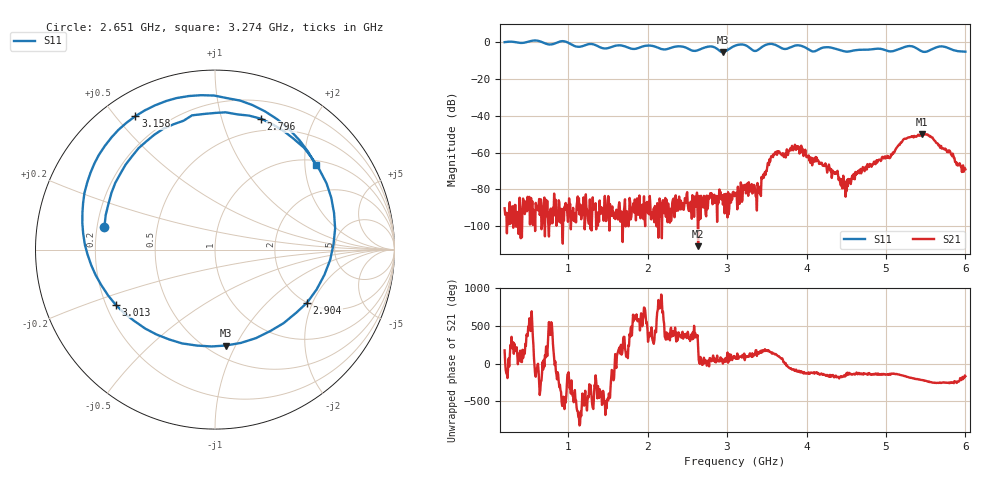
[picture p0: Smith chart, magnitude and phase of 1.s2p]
! NanoVNA-App by OneOfEleven et al v1.1.209 (+OD15)
! Date: 2024-07-30 15:14:03
! Start: 200MHz Stop: 6GHz Points: 801
! S-Parameter data: F S11 S21 S12 S22
# Hz S RI R 50
!  Frequency  S11_Real  S11_Imag  S21_Real  S21_Imag  S12_Real  S12_Imag  S22_Real  S22_Imag
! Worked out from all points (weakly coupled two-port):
!   801 points, 200 MHz to 6 GHz, reference 50 ohm
!   highest |S21| = -50.00 dB at 5.449 GHz (marker M1); lowest = -110.9 dB at 2.636 GHz (marker M2)
!   lowest |S11| = -5.4 dB at 2.948 GHz (marker M3), VSWR 3.33, Z = 30.4 - j45.8 ohm
!   |S11| at or under -10 dB: nowhere
!   S12 and S22 are empty: the file has one direction only
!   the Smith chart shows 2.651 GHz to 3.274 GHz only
!   S11 on the Smith chart (normalised r, x): 2.651 GHz: 0.23, +0.10; 2.796 GHz: 0.37, +1.34; 2.904 GHz: 2.00, -1.82; 3.013 GHz: 0.24, -0.24; 3.158 GHz: 0.10, +0.56; 3.274 GHz: 1.13, +2.29
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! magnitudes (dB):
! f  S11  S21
! 200 MHz  0.1  -90.2
! 1.171 GHz  -2.2  -92.9
! 2.136 GHz  -3.0  -106.3
! 2.636 GHz  -4.3  -110.9
! 2.651 GHz  -4.0  -96.4
! 2.796 GHz  -2.2  -83.7
! 2.904 GHz  -4.6  -80.1
! 2.948 GHz  -5.4  -88.2
! 3.013 GHz  -4.0  -81.5
! 3.1 GHz  -1.9  -83.0
! 3.158 GHz  -1.3  -87.9
! 3.274 GHz  -2.7  -76.1
! 3.397 GHz  -3.9  -79.9
! 3.629 GHz  -1.9  -61.2
! 3.876 GHz  -1.7  -56.4
! 4.072 GHz  -4.9  -66.9
! 4.362 GHz  -3.5  -71.6
! 4.478 GHz  -4.9  -79.5
! 5.036 GHz  -4.9  -62.3
! 5.239 GHz  -2.5  -52.4
! 5.449 GHz  -4.9  -50.0
! 6 GHz  -5.1  -69.1
